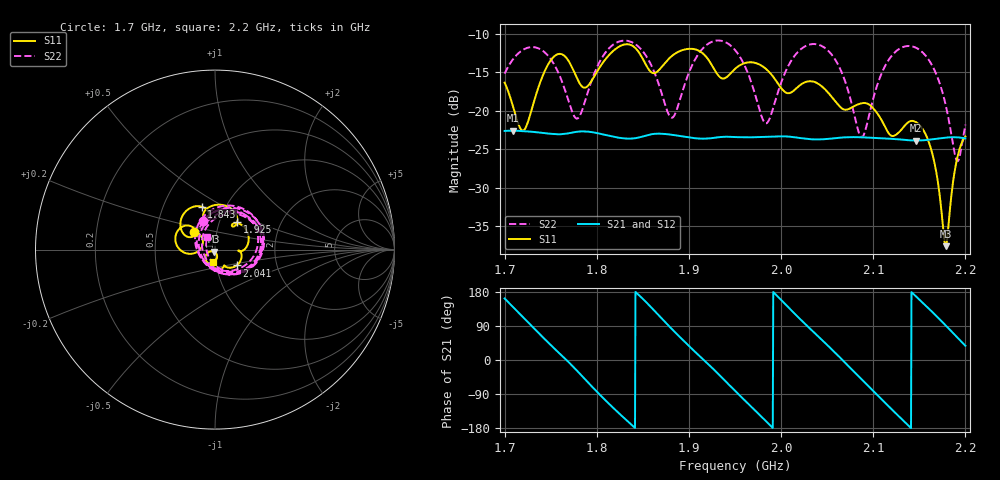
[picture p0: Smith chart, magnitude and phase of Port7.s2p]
# Hz S RI R 50
! CMT, CMT808U, 21440046, 21.4.3/4
! Date: 4/9/2026 1:45:59 AM
! Data: Format (Calibration Info)
! Freq	S11:Re/Im(F2)	S41:Re/Im(F2)	S14:Re/Im(F2)	S44:Re/Im(F2)
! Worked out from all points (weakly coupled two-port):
!   1001 points, 1.7 GHz to 2.2 GHz, reference 50 ohm
!   highest |S21| = -22.61 dB at 1.71 GHz (marker M1); lowest = -23.9 dB at 2.147 GHz (marker M2)
!   lowest |S11| = -37.6 dB at 2.179 GHz (marker M3), VSWR 1.03, Z = 49.4 - j1.17 ohm
!   |S11| at or under -10 dB: start of sweep to end of sweep
!   |S22| runs from -26.6 to -10.9 dB; largest |S21 - S12| = 0.001
!   S11 on the Smith chart (normalised r, x): 1.7 GHz: 0.78, +0.15; 1.843 GHz: 0.77, +0.39; 1.925 GHz: 1.21, +0.39; 2.041 GHz: 1.25, -0.23; 2.2 GHz: 0.96, -0.13
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1.7e9  -0.1168 0.0972  -0.0704 0.0223  -0.0704 0.0214  -0.0667 0.1607
1.7095e9  -0.0754 0.0725  -0.0558 0.0487  -0.0561 0.0478  0.0123 0.2167
1.7215e9  -0.0737 0.0153  -0.0239 0.0696  -0.0246 0.069  0.1344 0.2122
1.743e9  -0.1771 -0.0137  0.0397 0.0594  0.0388 0.0597  0.2386 0.0289
1.762e9  -0.2067 0.1063  0.0688 0.0144  0.0683 0.0152  0.1051 -0.1152
1.7835e9  -0.1105 0.0929  0.0554 -0.0481  0.0558 -0.0471  -0.0979 -0.00806
1.8135e9  -0.1919 0.1269  -0.0302 -0.0616  -0.0293 -0.0618  0.0675 0.2454
1.843e9  -0.0749 0.2393  -0.0664 0.00305  -0.0662 0.00224  0.2661 0.0204
1.867e9  -0.0598 0.1722  -0.0338 0.0623  -0.0345 0.0617  0.0611 -0.1371
1.8825e9  -0.0508 0.2232  0.013 0.0683  0.012 0.0683  -0.0848 -0.0313
1.925e9  0.1236 0.1532  0.0621 -0.0231  0.0623 -0.0222  0.2041 0.1917
1.95e9  0.1133 0.1483  0.0103 -0.0666  0.0113 -0.0663  0.24 -0.0609
1.984e9  0.1832 0.0312  -0.0644 -0.0204  -0.0639 -0.0213  -0.0771 -0.0299
2.0335e9  0.1399 -0.0667  0.0137 0.0637  0.0127 0.0638  0.2419 0.1206
2.0405e9  0.1199 -0.0885  0.0307 0.0573  0.0299 0.0577  0.2629 0.0524
2.0875e9  0.0357 -0.1058  0.0419 -0.0524  0.0425 -0.0518  -0.0631 -0.0231
2.117e9  -0.0129 -0.0698  -0.0356 -0.0553  -0.0347 -0.0557  0.0776 0.2001
2.1465e9  -0.0408 -0.0735  -0.0625 0.0137  -0.0626 0.0128  0.2549 0.0211
2.1645e9  -0.0458 -0.0234  -0.0381 0.0529  -0.0388 0.0523  0.1576 -0.1122
2.1785e9  -0.00583 -0.0118  -0.00181 0.0668  -0.00278 0.0667  0.0275 -0.1061
2.1905e9  0.0108 -0.046  0.0323 0.0589  0.0314 0.0593  -0.0434 -0.0193
2.2e9  -0.0136 -0.0665  0.0525 0.0402  0.0519 0.0409  -0.0419 0.0695
